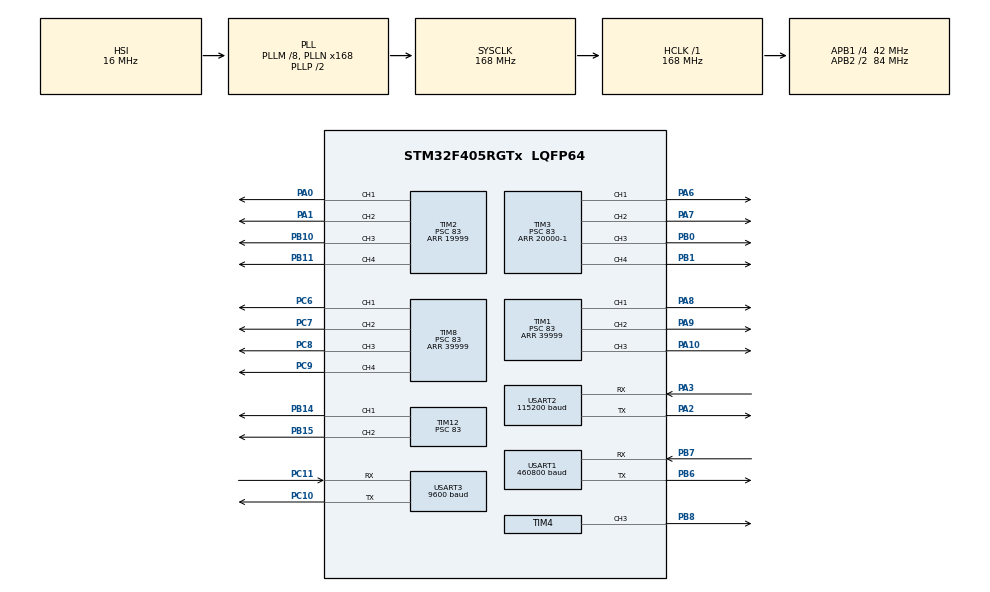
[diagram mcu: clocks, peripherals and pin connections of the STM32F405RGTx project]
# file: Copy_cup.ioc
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Mcu.Family=STM32F4
Mcu.Name=STM32F405RGTx
Mcu.Package=LQFP64
NVIC.PriorityGroup=NVIC_PRIORITYGROUP_4
NVIC.USART1_IRQn=true\:0\:0\:false\:false\:true\:true\:true\:true
NVIC.USART2_IRQn=true\:1\:0\:true\:false\:true\:true\:true\:true
NVIC.USART3_IRQn=true\:0\:0\:false\:false\:true\:true\:true\:true
PA0-WKUP.Signal=S_TIM2_CH1_ETR
PA1.Signal=S_TIM2_CH2
PA10.Signal=S_TIM1_CH3
PA13.Mode=Serial_Wire
PA13.Signal=SYS_JTMS-SWDIO
PA14.Mode=Serial_Wire
PA14.Signal=SYS_JTCK-SWCLK
PA2.Mode=Asynchronous
PA2.Signal=USART2_TX
PA3.Mode=Asynchronous
PA3.Signal=USART2_RX
PA6.Signal=S_TIM3_CH1
PA7.Signal=S_TIM3_CH2
PA8.Signal=S_TIM1_CH1
PA9.Signal=S_TIM1_CH2
PB0.Signal=S_TIM3_CH3
PB1.Signal=S_TIM3_CH4
PB10.Signal=S_TIM2_CH3
PB11.Signal=S_TIM2_CH4
PB14.Signal=S_TIM12_CH1
PB15.Signal=S_TIM12_CH2
PB6.Mode=Asynchronous
PB6.Signal=USART1_TX
PB7.Mode=Asynchronous
PB7.Signal=USART1_RX
PB8.Signal=S_TIM4_CH3
PC10.Mode=Asynchronous
PC10.Signal=USART3_TX
PC11.Mode=Asynchronous
PC11.Signal=USART3_RX
PC6.Signal=S_TIM8_CH1
PC7.Signal=S_TIM8_CH2
PC8.Signal=S_TIM8_CH3
PC9.Signal=S_TIM8_CH4
PH0-OSC_IN.Mode=HSE-External-Oscillator
PH0-OSC_IN.Signal=RCC_OSC_IN
PH1-OSC_OUT.Mode=HSE-External-Oscillator
PH1-OSC_OUT.Signal=RCC_OSC_OUT
ProjectManager.HeapSize=0x200
ProjectManager.StackSize=0x400
ProjectManager.TargetToolchain=MDK-ARM V5.32
RCC.48MHZClocksFreq_Value=84000000
RCC.AHBFreq_Value=168000000
RCC.APB1CLKDivider=RCC_HCLK_DIV4
RCC.APB1Freq_Value=42000000
RCC.APB1TimFreq_Value=84000000
RCC.APB2CLKDivider=RCC_HCLK_DIV2
RCC.APB2Freq_Value=84000000
RCC.APB2TimFreq_Value=168000000
RCC.CortexFreq_Value=168000000
RCC.HCLKFreq_Value=168000000
RCC.HSE_VALUE=25000000
RCC.HSI_VALUE=16000000
RCC.LSE_VALUE=32768
RCC.PLLM=8
RCC.PLLN=168
RCC.SYSCLKFreq_VALUE=168000000
RCC.SYSCLKSource=RCC_SYSCLKSOURCE_PLLCLK
RCC.VCOOutputFreq_Value=336000000
SH.S_TIM12_CH1.0=TIM12_CH1,PWM Generation1 CH1
SH.S_TIM12_CH2.0=TIM12_CH2,PWM Generation2 CH2
SH.S_TIM1_CH1.0=TIM1_CH1,PWM Generation1 CH1
SH.S_TIM1_CH2.0=TIM1_CH2,PWM Generation2 CH2
SH.S_TIM1_CH3.0=TIM1_CH3,PWM Generation3 CH3
SH.S_TIM2_CH1_ETR.0=TIM2_CH1,PWM Generation1 CH1
SH.S_TIM2_CH2.0=TIM2_CH2,PWM Generation2 CH2
SH.S_TIM2_CH3.0=TIM2_CH3,PWM Generation3 CH3
SH.S_TIM2_CH4.0=TIM2_CH4,PWM Generation4 CH4
SH.S_TIM3_CH1.0=TIM3_CH1,PWM Generation1 CH1
SH.S_TIM3_CH2.0=TIM3_CH2,PWM Generation2 CH2
SH.S_TIM3_CH3.0=TIM3_CH3,PWM Generation3 CH3
SH.S_TIM3_CH4.0=TIM3_CH4,PWM Generation4 CH4
SH.S_TIM4_CH3.0=TIM4_CH3,PWM Generation3 CH3
SH.S_TIM8_CH1.0=TIM8_CH1,PWM Generation1 CH1
SH.S_TIM8_CH2.0=TIM8_CH2,PWM Generation2 CH2
SH.S_TIM8_CH3.0=TIM8_CH3,PWM Generation3 CH3
SH.S_TIM8_CH4.0=TIM8_CH4,PWM Generation4 CH4
TIM1.Channel-PWM\ Generation1\ CH1=TIM_CHANNEL_1
TIM1.Channel-PWM\ Generation2\ CH2=TIM_CHANNEL_2
TIM1.Channel-PWM\ Generation3\ CH3=TIM_CHANNEL_3
TIM1.Period=39999
TIM1.Prescaler=83
TIM12.Channel-PWM\ Generation1\ CH1=TIM_CHANNEL_1
TIM12.Channel-PWM\ Generation2\ CH2=TIM_CHANNEL_2
TIM12.Period=19999
TIM12.Prescaler=83
TIM2.Channel-PWM\ Generation1\ CH1=TIM_CHANNEL_1
TIM2.Channel-PWM\ Generation2\ CH2=TIM_CHANNEL_2
TIM2.Channel-PWM\ Generation3\ CH3=TIM_CHANNEL_3
TIM2.Channel-PWM\ Generation4\ CH4=TIM_CHANNEL_4
TIM2.Period=19999
TIM2.Prescaler=83
TIM3.Channel-PWM\ Generation1\ CH1=TIM_CHANNEL_1
TIM3.Channel-PWM\ Generation2\ CH2=TIM_CHANNEL_2
TIM3.Channel-PWM\ Generation3\ CH3=TIM_CHANNEL_3
TIM3.Channel-PWM\ Generation4\ CH4=TIM_CHANNEL_4
TIM3.Period=20000-1
TIM3.Prescaler=83
TIM3.Pulse-PWM\ Generation1\ CH1=0
TIM3.Pulse-PWM\ Generation2\ CH2=0
TIM3.Pulse-PWM\ Generation3\ CH3=0
TIM3.Pulse-PWM\ Generation4\ CH4=0
TIM4.Channel-PWM\ Generation3\ CH3=TIM_CHANNEL_3
TIM4.Period=19999
TIM4.Prescaler=83
TIM8.Channel-PWM\ Generation1\ CH1=TIM_CHANNEL_1
TIM8.Channel-PWM\ Generation2\ CH2=TIM_CHANNEL_2
TIM8.Channel-PWM\ Generation3\ CH3=TIM_CHANNEL_3
TIM8.Channel-PWM\ Generation4\ CH4=TIM_CHANNEL_4
TIM8.Period=39999
TIM8.Prescaler=83
USART1.BaudRate=460800
USART1.VirtualMode=VM_ASYNC
USART2.BaudRate=115200
USART2.VirtualMode=VM_ASYNC
USART3.BaudRate=9600
USART3.VirtualMode=VM_ASYNC
VP_IWDG_VS_IWDG.Mode=IWDG_Activate
VP_TIM12_VS_ClockSourceINT.Mode=Internal
VP_TIM1_VS_ClockSourceINT.Mode=Internal
VP_TIM2_VS_ClockSourceINT.Mode=Internal
VP_TIM3_VS_ClockSourceINT.Mode=Internal
board=custom

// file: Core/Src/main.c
/* USER CODE BEGIN Header */
/**
  ******************************************************************************
  * @file           : main.c
  * @brief          : Main program body
  ******************************************************************************
  * @attention
  *
  * Copyright (c) 2025 STMicroelectronics.
  * All rights reserved.
  *
  * This software is licensed under terms that can be found in the LICENSE file
  * in the root directory of this software component.
  * If no LICENSE file comes with this software, it is provided AS-IS.
  *
  ******************************************************************************
  */
/* USER CODE END Header */
#include "main.h"
#include "iwdg.h"
#include "tim.h"
#include "usart.h"
#include "gpio.h"

/* USER CODE BEGIN Includes */
#include <string.h>
#include "Mate.h"
#include "PID.h"
#include "Move.h"
#include "imu.h"
#include "RC.h"
#include "AuvLink.h"
/* USER CODE END Includes */

void SystemClock_Config(void);

int main(void)
{

  /* MCU Configuration--------------------------------------------------------*/

  /* Reset of all peripherals, Initializes the Flash interface and the Systick. */
  HAL_Init();

  /* Configure the system clock */
  SystemClock_Config();

  /* Initialize all configured peripherals */
  MX_GPIO_Init();
  MX_TIM3_Init();
  MX_USART1_UART_Init();
  MX_USART2_UART_Init();
  MX_TIM1_Init();
  MX_TIM12_Init();
  MX_TIM2_Init();
  MX_TIM4_Init();
  MX_IWDG_Init();
  MX_TIM8_Init();
  MX_USART3_UART_Init();
  /* USER CODE BEGIN 2 */
	MX_USART1_UART_Init();// 初始化串口
	USART1_SetBaudRate_460800();// 设置H30的波特率
  // 启动串口接收中断
	USART1_Receive_IT_Init();
	AuvLink_Init();
	USART2_Receive_IT_Init();
	Mate_Init();

  /* USER CODE END 2 */

  /* Infinite loop */
  /* USER CODE BEGIN WHILE */
  while (1)
  {
		//进入主循环
    USART1_Receive_Service();
    AuvLink_Task();
    Mate_Task();
    /* USER CODE END WHILE */

  }
}

void SystemClock_Config(void)
{
  RCC_OscInitTypeDef RCC_OscInitStruct = {0};
  RCC_ClkInitTypeDef RCC_ClkInitStruct = {0};

  /** Configure the main internal regulator output voltage
  */
  __HAL_RCC_PWR_CLK_ENABLE();
  __HAL_PWR_VOLTAGESCALING_CONFIG(PWR_REGULATOR_VOLTAGE_SCALE1);

  /** Initializes the RCC Oscillators according to the specified parameters
  * in the RCC_OscInitTypeDef structure.
  */
  RCC_OscInitStruct.OscillatorType = RCC_OSCILLATORTYPE_HSI|RCC_OSCILLATORTYPE_LSI;
  RCC_OscInitStruct.HSIState = RCC_HSI_ON;
  RCC_OscInitStruct.HSICalibrationValue = RCC_HSICALIBRATION_DEFAULT;
  RCC_OscInitStruct.LSIState = RCC_LSI_ON;
  RCC_OscInitStruct.PLL.PLLState = RCC_PLL_ON;
  RCC_OscInitStruct.PLL.PLLSource = RCC_PLLSOURCE_HSI;
  RCC_OscInitStruct.PLL.PLLM = 8;
  RCC_OscInitStruct.PLL.PLLN = 168;
  RCC_OscInitStruct.PLL.PLLP = RCC_PLLP_DIV2;
  RCC_OscInitStruct.PLL.PLLQ = 4;
  if (HAL_RCC_OscConfig(&RCC_OscInitStruct) != HAL_OK)
  {
    Error_Handler();
  }

  /** Initializes the CPU, AHB and APB buses clocks
  */
  RCC_ClkInitStruct.ClockType = RCC_CLOCKTYPE_HCLK|RCC_CLOCKTYPE_SYSCLK
                              |RCC_CLOCKTYPE_PCLK1|RCC_CLOCKTYPE_PCLK2;
  RCC_ClkInitStruct.SYSCLKSource = RCC_SYSCLKSOURCE_PLLCLK;
  RCC_ClkInitStruct.AHBCLKDivider = RCC_SYSCLK_DIV1;
  RCC_ClkInitStruct.APB1CLKDivider = RCC_HCLK_DIV4;
  RCC_ClkInitStruct.APB2CLKDivider = RCC_HCLK_DIV2;

  if (HAL_RCC_ClockConfig(&RCC_ClkInitStruct, FLASH_LATENCY_5) != HAL_OK)
  {
    Error_Handler();
  }
}

void Error_Handler(void)
{
  __disable_irq();
  while (1)
  {
  }
}
